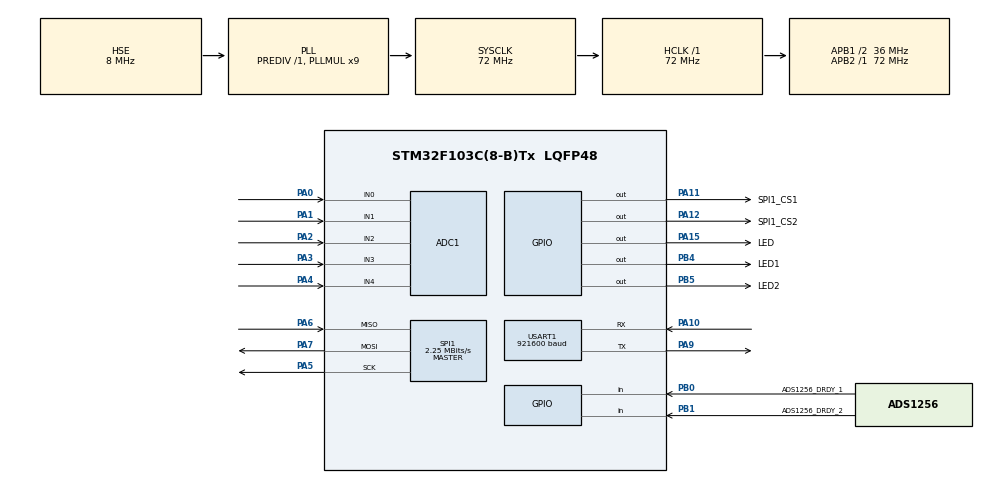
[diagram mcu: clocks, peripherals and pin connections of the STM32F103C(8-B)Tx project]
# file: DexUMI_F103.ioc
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ADC1.Channel-0\#ChannelRegularConversion=ADC_CHANNEL_0
ADC1.Channel-1\#ChannelRegularConversion=ADC_CHANNEL_1
ADC1.Channel-2\#ChannelRegularConversion=ADC_CHANNEL_2
ADC1.Channel-3\#ChannelRegularConversion=ADC_CHANNEL_3
ADC1.Channel-4\#ChannelRegularConversion=ADC_CHANNEL_4
ADC1.ContinuousConvMode=ENABLE
ADC1.NbrOfConversion=5
ADC1.NbrOfConversionFlag=1
ADC1.Rank-0\#ChannelRegularConversion=1
ADC1.Rank-1\#ChannelRegularConversion=2
ADC1.Rank-2\#ChannelRegularConversion=3
ADC1.Rank-3\#ChannelRegularConversion=4
ADC1.Rank-4\#ChannelRegularConversion=5
ADC1.SamplingTime-0\#ChannelRegularConversion=ADC_SAMPLETIME_28CYCLES_5
ADC1.SamplingTime-1\#ChannelRegularConversion=ADC_SAMPLETIME_28CYCLES_5
ADC1.SamplingTime-2\#ChannelRegularConversion=ADC_SAMPLETIME_28CYCLES_5
ADC1.SamplingTime-3\#ChannelRegularConversion=ADC_SAMPLETIME_28CYCLES_5
ADC1.SamplingTime-4\#ChannelRegularConversion=ADC_SAMPLETIME_28CYCLES_5
ADC1.master=1
Dma.ADC1.0.Direction=DMA_PERIPH_TO_MEMORY
Dma.ADC1.0.Instance=DMA1_Channel1
Dma.ADC1.0.MemDataAlignment=DMA_MDATAALIGN_HALFWORD
Dma.ADC1.0.MemInc=DMA_MINC_ENABLE
Dma.ADC1.0.Mode=DMA_CIRCULAR
Dma.ADC1.0.PeriphDataAlignment=DMA_PDATAALIGN_HALFWORD
Dma.ADC1.0.PeriphInc=DMA_PINC_DISABLE
Dma.ADC1.0.Priority=DMA_PRIORITY_LOW
Dma.Request0=ADC1
IWDG.Reload=4000
Mcu.Family=STM32F1
Mcu.Name=STM32F103C(8-B)Tx
Mcu.Package=LQFP48
NVIC.ADC1_2_IRQn=true\:0\:0\:false\:false\:true\:true\:true\:true
NVIC.DMA1_Channel1_IRQn=true\:0\:0\:false\:false\:true\:false\:true\:true
NVIC.PriorityGroup=NVIC_PRIORITYGROUP_4
PA0-WKUP.Signal=ADCx_IN0
PA1.Signal=ADCx_IN1
PA10.Mode=Asynchronous
PA10.Signal=USART1_RX
PA11.GPIO_Label=SPI1_CS1
PA11.GPIO_Speed=GPIO_SPEED_FREQ_HIGH
PA11.Signal=GPIO_Output
PA12.GPIO_Label=SPI1_CS2
PA12.GPIO_Speed=GPIO_SPEED_FREQ_HIGH
PA12.Signal=GPIO_Output
PA13.Mode=Serial_Wire
PA13.Signal=SYS_JTMS-SWDIO
PA14.Mode=Serial_Wire
PA14.Signal=SYS_JTCK-SWCLK
PA15.GPIO_Label=LED
PA15.GPIO_Speed=GPIO_SPEED_FREQ_HIGH
PA15.Signal=GPIO_Output
PA2.Signal=ADCx_IN2
PA3.Signal=ADCx_IN3
PA4.Signal=ADCx_IN4
PA5.Mode=Full_Duplex_Master
PA5.Signal=SPI1_SCK
PA6.Mode=Full_Duplex_Master
PA6.Signal=SPI1_MISO
PA7.Mode=Full_Duplex_Master
PA7.Signal=SPI1_MOSI
PA9.Mode=Asynchronous
PA9.Signal=USART1_TX
PB0.GPIO_Label=ADS1256_DRDY_1
PB0.GPIO_PuPd=GPIO_PULLUP
PB0.Signal=GPIO_Input
PB1.GPIO_Label=ADS1256_DRDY_2
PB1.GPIO_PuPd=GPIO_PULLUP
PB1.Signal=GPIO_Input
PB4.GPIO_Label=LED1
PB4.GPIO_Speed=GPIO_SPEED_FREQ_HIGH
PB4.Signal=GPIO_Output
PB5.GPIO_Label=LED2
PB5.GPIO_Speed=GPIO_SPEED_FREQ_HIGH
PB5.Signal=GPIO_Output
PD0-OSC_IN.Mode=HSE-External-Oscillator
PD0-OSC_IN.Signal=RCC_OSC_IN
PD1-OSC_OUT.Mode=HSE-External-Oscillator
PD1-OSC_OUT.Signal=RCC_OSC_OUT
ProjectManager.HeapSize=0x200
ProjectManager.StackSize=0x400
ProjectManager.TargetToolchain=Makefile
RCC.ADCPresc=RCC_ADCPCLK2_DIV6
RCC.AHBFreq_Value=72000000
RCC.APB1CLKDivider=RCC_HCLK_DIV2
RCC.APB1Freq_Value=36000000
RCC.APB1TimFreq_Value=72000000
RCC.APB2Freq_Value=72000000
RCC.APB2TimFreq_Value=72000000
RCC.HCLKFreq_Value=72000000
RCC.PLLMUL=RCC_PLL_MUL9
RCC.PLLSourceVirtual=RCC_PLLSOURCE_HSE
RCC.SYSCLKFreq_VALUE=72000000
RCC.SYSCLKSource=RCC_SYSCLKSOURCE_PLLCLK
RCC.USBFreq_Value=72000000
SH.ADCx_IN0.0=ADC1_IN0,IN0
SH.ADCx_IN1.0=ADC1_IN1,IN1
SH.ADCx_IN2.0=ADC1_IN2,IN2
SH.ADCx_IN3.0=ADC1_IN3,IN3
SH.ADCx_IN4.0=ADC1_IN4,IN4
SPI1.BaudRatePrescaler=SPI_BAUDRATEPRESCALER_32
SPI1.CLKPhase=SPI_PHASE_2EDGE
SPI1.CalculateBaudRate=2.25 MBits/s
SPI1.Direction=SPI_DIRECTION_2LINES
SPI1.Mode=SPI_MODE_MASTER
SPI1.VirtualType=VM_MASTER
USART1.BaudRate=921600
USART1.VirtualMode=VM_ASYNC
VP_IWDG_VS_IWDG.Mode=IWDG_Activate
board=custom

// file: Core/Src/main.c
/* USER CODE BEGIN Header */
/**
  ******************************************************************************
  * @file           : main.c
  * @brief          : Main program body
  ******************************************************************************
  * @attention
  *
  * Copyright (c) 2025 STMicroelectronics.
  * All rights reserved.
  *
  * This software is licensed under terms that can be found in the LICENSE file
  * in the root directory of this software component.
  * If no LICENSE file comes with this software, it is provided AS-IS.
  *
  ******************************************************************************
  */
/* USER CODE END Header */
#include "main.h"
#include "adc.h"
#include "dma.h"
#include "iwdg.h"
#include "spi.h"
#include "usart.h"
#include "gpio.h"

/* USER CODE BEGIN Includes */
#include "ads1256.h"
#include "delay.h"
#include "fsr.h"

/* USER CODE END Includes */

/* USER CODE BEGIN PD */
#define BUILD_FOR_XHAND
/* USER CODE END PD */

/* USER CODE BEGIN PV */
#ifdef BUILD_FOR_XHAND
__IO uint32_t data[16] = {0};
#else
__IO uint32_t data[10] = {0};
#endif

/* USER CODE END PV */

void SystemClock_Config(void);

int main(void)
{

  /* USER CODE BEGIN 1 */
  uint8_t i = 0;
  uint16_t checksum = 0;
  // uint8_t device = 1;

  /* USER CODE END 1 */

  /* MCU Configuration--------------------------------------------------------*/

  /* Reset of all peripherals, Initializes the Flash interface and the Systick. */
  HAL_Init();

  /* Configure the system clock */
  SystemClock_Config();

  /* Initialize all configured peripherals */
  MX_GPIO_Init();
  MX_DMA_Init();
  MX_ADC1_Init();
  MX_SPI1_Init();
  MX_USART1_UART_Init();
  MX_IWDG_Init();
  /* USER CODE BEGIN 2 */
  dbh_ADS1256_Init(0); // Initialize the ADS1256
  dbh_ADS1256_Init(1); // Initialize the ADS1256

  HAL_GPIO_WritePin(LED1_GPIO_Port, LED1_Pin, GPIO_PIN_SET); // Turn on the LED1

  //ADC initialization
	// HAL_ADCEx_Calibration_Start(&hadc1);
	// HAL_ADC_Start_DMA(&hadc1, (uint32_t*)&_u16ADC_Value, 50*5);
	// HAL_ADC_Start(&hadc1);

  HAL_GPIO_WritePin(LED2_GPIO_Port, LED2_Pin, GPIO_PIN_SET); // Turn on the LED2

  /* USER CODE END 2 */

  /* Infinite loop */
  while (1)
  {

    /* USER CODE BEGIN 3 */
    // Read the data from the ADS1256
    data[0] = 0x55AA;
    #ifdef BUILD_FOR_XHAND
    for (i = 1; i <= 14; i++)
    {
      // i = 0 - 7, for the first ADS1256
      // i = 8 - 15, for the second ADS1256
      if (i < 13)
      {
        dbh_ADS1256_SelectChannel((i-1)%8, (i-1)/8);
        data[i] = dbh_ADS1256_ReadData((i-1)/8);
      }
      else
      {
        dbh_ADS1256_SelectChannel((i+1)%8, (i+1)/8);
        data[i] = dbh_ADS1256_ReadData((i+1)/8);
      }
      // voltage[i] = (float)data[i] * 5.0 / 0x7FFFFF;
      // voltage[i] = data[i] * 0.000000596;
    }
    #else
    for (i = 1; i <= 8; i++)
    {
      if (i < 7)
      {
        dbh_ADS1256_SelectChannel((i-1)%8, (i-1)/8);
        data[i] = dbh_ADS1256_ReadData((i-1)/8);
      }
      else
      {
        dbh_ADS1256_SelectChannel((i+7)%8, (i+7)/8);
        data[i] = dbh_ADS1256_ReadData((i+7)/8);
      }
      // voltage[i] = (float)data[i] * 5.0 / 0x7FFFFF;
      // voltage[i] = data[i] * 0.000000596;
    }
    #endif

    // Get the FSR data
    // dbh_FSR_GetADCValue();
    // data[13] = (fsr[1] << 16) | fsr[0];

    // Calculate the checksum
    checksum = 0;
    #ifdef BUILD_FOR_XHAND
    for (i = 1; i <= 14; i++)
    {
      checksum += data[i];
    }
    data[15] = (checksum << 16) | dbh_GetTimestamp();

    HAL_UART_Transmit(&huart1, (uint8_t *)data, 64, 1000); // Send the data over UART
    #else
    for (i = 1; i <= 8; i++)
    {
      checksum += data[i];
    }
    data[9] = (checksum << 16) | dbh_GetTimestamp();
    HAL_UART_Transmit(&huart1, (uint8_t *)data, 40, 1000); // Send the data over UART
    #endif
  }
  /* USER CODE END 3 */
}

void SystemClock_Config(void)
{
  RCC_OscInitTypeDef RCC_OscInitStruct = {0};
  RCC_ClkInitTypeDef RCC_ClkInitStruct = {0};
  RCC_PeriphCLKInitTypeDef PeriphClkInit = {0};

  /** Initializes the RCC Oscillators according to the specified parameters
  * in the RCC_OscInitTypeDef structure.
  */
  RCC_OscInitStruct.OscillatorType = RCC_OSCILLATORTYPE_LSI|RCC_OSCILLATORTYPE_HSE;
  RCC_OscInitStruct.HSEState = RCC_HSE_ON;
  RCC_OscInitStruct.HSEPredivValue = RCC_HSE_PREDIV_DIV1;
  RCC_OscInitStruct.HSIState = RCC_HSI_ON;
  RCC_OscInitStruct.LSIState = RCC_LSI_ON;
  RCC_OscInitStruct.PLL.PLLState = RCC_PLL_ON;
  RCC_OscInitStruct.PLL.PLLSource = RCC_PLLSOURCE_HSE;
  RCC_OscInitStruct.PLL.PLLMUL = RCC_PLL_MUL9;
  if (HAL_RCC_OscConfig(&RCC_OscInitStruct) != HAL_OK)
  {
    Error_Handler();
  }

  /** Initializes the CPU, AHB and APB buses clocks
  */
  RCC_ClkInitStruct.ClockType = RCC_CLOCKTYPE_HCLK|RCC_CLOCKTYPE_SYSCLK
                              |RCC_CLOCKTYPE_PCLK1|RCC_CLOCKTYPE_PCLK2;
  RCC_ClkInitStruct.SYSCLKSource = RCC_SYSCLKSOURCE_PLLCLK;
  RCC_ClkInitStruct.AHBCLKDivider = RCC_SYSCLK_DIV1;
  RCC_ClkInitStruct.APB1CLKDivider = RCC_HCLK_DIV2;
  RCC_ClkInitStruct.APB2CLKDivider = RCC_HCLK_DIV1;

  if (HAL_RCC_ClockConfig(&RCC_ClkInitStruct, FLASH_LATENCY_2) != HAL_OK)
  {
    Error_Handler();
  }
  PeriphClkInit.PeriphClockSelection = RCC_PERIPHCLK_ADC;
  PeriphClkInit.AdcClockSelection = RCC_ADCPCLK2_DIV6;
  if (HAL_RCCEx_PeriphCLKConfig(&PeriphClkInit) != HAL_OK)
  {
    Error_Handler();
  }
}

void Error_Handler(void)
{
  __disable_irq();
  while (1)
  {
  }
}
